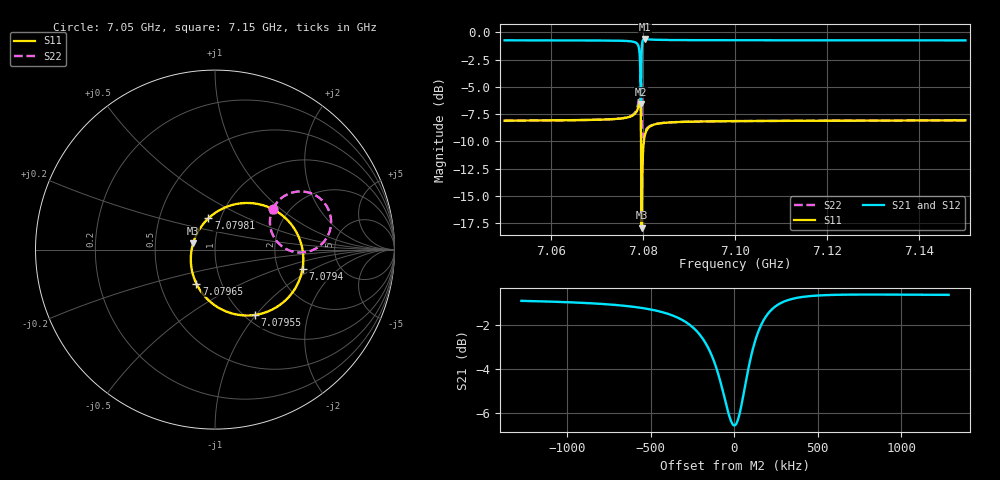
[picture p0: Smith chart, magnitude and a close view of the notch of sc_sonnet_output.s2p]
! Sonnet Data File
! From: em Version : 18.56
! From Project: cpw_mcp_test6
! Data is De-embedded
! Data File Written: 06/21/2025 20:07:32
! ->  Created by pysonnet 0.0.4
!< HDATE 06/21/2025 19:30:57
!< MDATE 06/21/2025 19:30:57
# GHZ S RI R 50.00000
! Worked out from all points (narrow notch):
!   798 points, 7.05 GHz to 7.15 GHz, reference 50 ohm
!   highest |S21| = -0.62 dB at 7.08038 GHz (marker M1); lowest = -6.6 dB at 7.07957 GHz (marker M2)
!   notch at M2: 5.8 dB deep, 214 kHz wide at half that depth
!   lowest |S11| = -17.9 dB at 7.07972 GHz (marker M3), VSWR 1.29, Z = 39 + j2.71 ohm
!   |S11| at or under -10 dB: 7.079607 GHz to 7.080214 GHz (607 kHz wide, 0.00857 % of centre)
!   |S22| runs from -9.6 to -3.5 dB; largest |S21 - S12| = 0
!   S11 on the Smith chart (normalised r, x): 7.05 GHz: 1.66, +0.88; 7.0794 GHz: 2.75, -0.77; 7.07955 GHz: 1.11, -0.99; 7.07965 GHz: 0.76, -0.30; 7.07981 GHz: 0.88, +0.31; 7.15 GHz: 1.67, +0.89
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7.05  0.323 0.2243  0.5281 -0.7526  0.5281 -0.7526  0.3208 0.2275
7.066834  0.3276 0.2221  0.5236 -0.7544  0.5236 -0.7544  0.3227 0.2292
7.07799  0.37 0.1947  0.4867 -0.7633  0.4867 -0.7633  0.3372 0.2522
7.079  0.4346 0.1273  0.4178 -0.7634  0.4178 -0.7634  0.3724 0.2888
7.079246  0.4774 0.0413  0.3502 -0.7422  0.3502 -0.7422  0.4181 0.3139
7.079398  0.4879 -0.1056  0.2667 -0.6728  0.2667 -0.6728  0.4977 0.3229
7.079485  0.4143 -0.2605  0.2219 -0.5545  0.2219 -0.5545  0.5835 0.2863
7.079553  0.2224 -0.3641  0.2647 -0.3996  0.2647 -0.3996  0.644 0.1844
7.079572  0.1459 -0.3655  0.3031 -0.3582  0.3031 -0.3582  0.6465 0.1429
7.079606  0.00973 -0.3178  0.398 -0.3102  0.398 -0.3102  0.6236 0.0678
7.079649  -0.1038 -0.1896  0.5241 -0.3152  0.5241 -0.3152  0.5565 0.00332
7.079692  -0.1347 -0.0439  0.6173 -0.3732  0.6173 -0.3732  0.4781 -0.0166
7.079721  -0.1222 0.0342  0.6525 -0.4197  0.6525 -0.4197  0.4354 -0.0116
7.079807  -0.0368 0.174  0.6832 -0.5365  0.6832 -0.5365  0.3576 0.0317
7.080001  0.1083 0.2518  0.6505 -0.6534  0.6505 -0.6534  0.3121 0.1088
7.080383  0.2113 0.2581  0.6013 -0.7114  0.6013 -0.7114  0.3064 0.1645
7.081303  0.2721 0.2455  0.5635 -0.7374  0.5635 -0.7374  0.3119 0.1978
7.083365  0.2999 0.2354  0.5438 -0.7471  0.5438 -0.7471  0.3168 0.213
7.1  0.319 0.2268  0.5284 -0.7534  0.5284 -0.7534  0.3219 0.2227
7.117  0.3218 0.2255  0.5253 -0.7548  0.5253 -0.7548  0.3232 0.2234
7.1335  0.3233 0.2248  0.5231 -0.7558  0.5231 -0.7558  0.3243 0.2234
7.15  0.3246 0.2243  0.5212 -0.7568  0.5212 -0.7568  0.3253 0.2233
